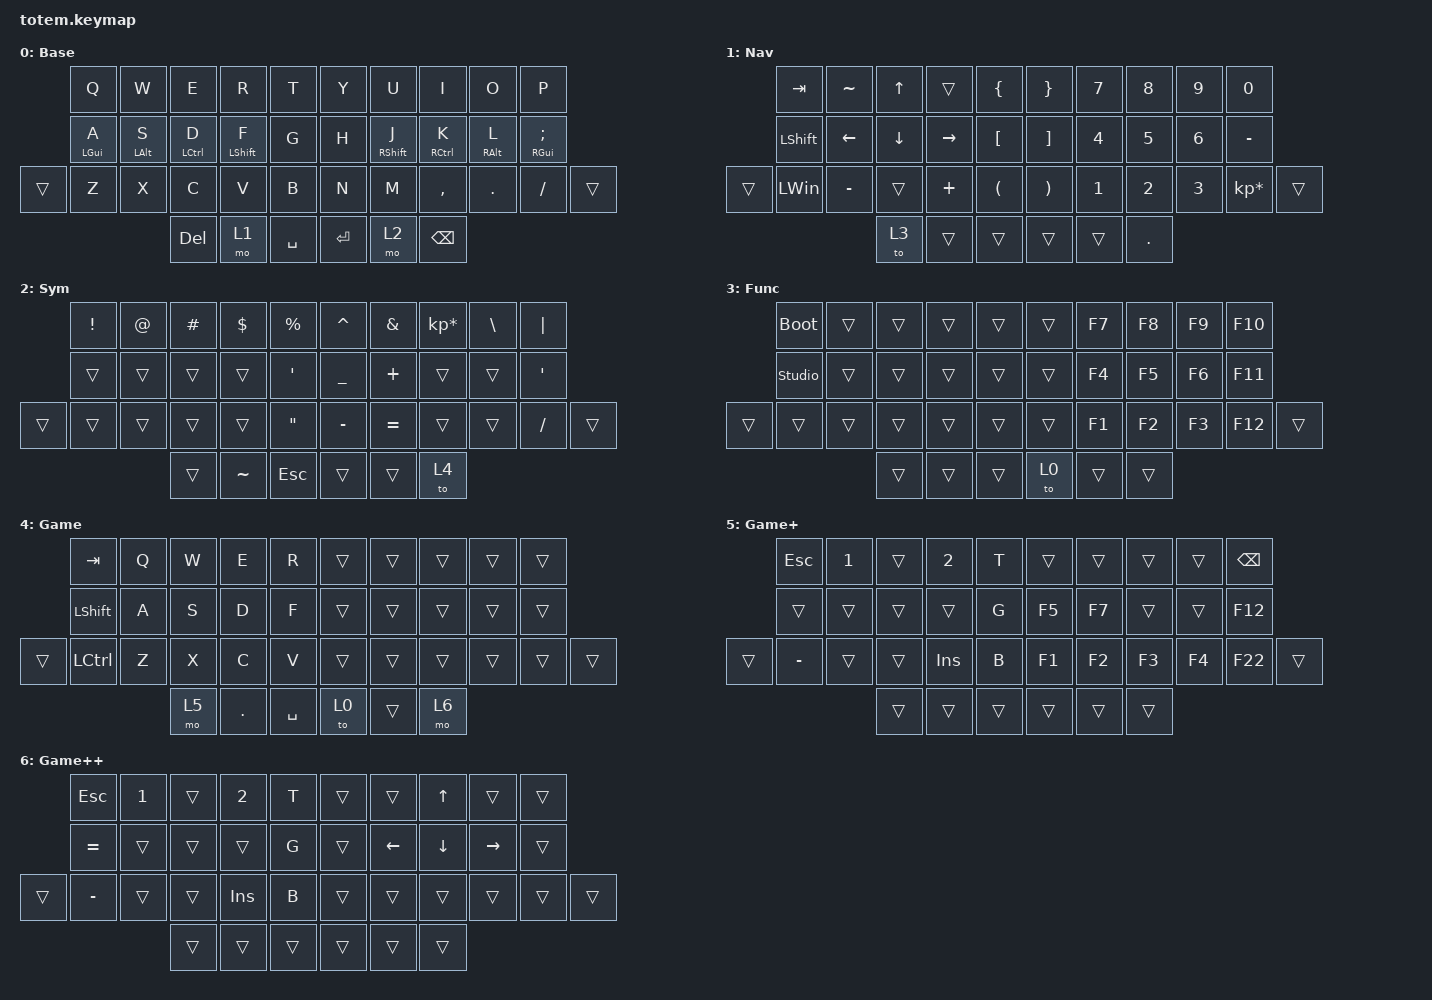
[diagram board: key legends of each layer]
//
//                                                        ▀▀▀▀▀     ▀▀▀▀▀          ▀▀█▀▀
//                                                        ▄▀▀▀▄  ▄  ▄▀▀▀▄  ▄  ▄▀▀▀▄  █  ▄▀▀▀▄
//                                                        █   █  █  █   █  █  █   █  █  █   █
//                                                         ▀▀▀   █   ▀▀▀   █   ▀▀▀   ▀   ▀▀▀
//                                                               █      ▄▄▄█▄▄▄    █   █  
//                                                               ▀      █  █  █     █▄█
//                                                             ▀▀▀▀▀    █  █  █      ▀
//                                                                      ▀  ▀  ▀
//
// ▄▄▄▄▄▄▄▄▄▄▄▄▄▄▄▄▄▄▄▄▄▄▄▄▄▄▄▄▄▄▄▄▄▄▄▄▄▄▄▄▄▄▄▄▄▄▄▄▄▄▄▄▄▄▄▄▄▄▄▄▄▄▄▄▄▄▄▄▄▄▄▄▄▄▄▄▄▄▄▄▄▄▄▄▄▄▄▄▄▄▄▄▄▄▄▄▄▄▄▄▄▄▄▄▄▄▄▄▄▄▄▄▄▄▄▄▄▄▄▄▄▄▄▄▄▄▄▄▄▄▄▄▄▄▄▄▄▄▄▄▄▄▄▄▄▄▄▄▄

#include <behaviors.dtsi>
#include <dt-bindings/zmk/keys.h>

#define Base            0
#define Nav             1
#define Sym             2
#define Fun             3
#define Game            4
#define Gameplus        5
#define Gameplusplus    6

&mt {
    quick-tap-ms = <100>;
    global-quick-tap;
    flavor = "tap-preferred";
    tapping-term-ms = <170>;
};

&lt {
    tapping-term-ms = <240>;
    flavor = "balanced";
    quick-tap-ms = <150>;
};

/ {
    behaviors {
        hm: homerow_mods {
            compatible = "zmk,behavior-hold-tap";
            label = "HOMEROW_MODS";
            #binding-cells = <2>;
            flavor = "tap-preferred";
            tapping-term-ms = <250>;
            quick-tap-ms = <125>;
            global-quick-tap;
            bindings = <&kp>, <&kp>;
        };
    };

    combos { compatible = "zmk,combos"; };

    keymap {
        compatible = "zmk,keymap";

        Base {
            display-name = "Base";
            bindings = <
              &kp Q       &kp W       &kp E          &kp R         &kp T        &kp Y    &kp U        &kp I        &kp O       &kp P
              &hm LGUI A  &hm LALT S  &hm LCTRL D    &hm LSHIFT F  &kp G        &kp H    &hm RSHFT J  &hm RCTRL K  &hm RALT L  &hm RGUI SEMICOLON
    &trans    &kp Z       &kp X       &kp C          &kp V         &kp B        &kp N    &kp M        &kp COMMA    &kp DOT     &kp SLASH           &trans
                                      &kp DEL        &mo 1         &kp SPACE    &kp RET  &mo 2        &kp BSPC
            >;
        };

        Nav {
            display-name = "Nav";
            bindings = <
              &kp TAB         &kp TILDE  &kp UP_ARROW  &trans     &kp LBRC    &kp RBRC  &kp NUMBER_7  &kp NUMBER_8  &kp NUMBER_9  &kp NUMBER_0
              &kp LEFT_SHIFT  &kp LEFT   &kp DOWN      &kp RIGHT  &kp LBKT    &kp RBKT  &kp NUMBER_4  &kp NUMBER_5  &kp NUMBER_6  &kp MINUS
    &trans    &kp LEFT_WIN    &kp MINUS  &trans        &kp PLUS   &kp LPAR    &kp RPAR  &kp NUMBER_1  &kp NUMBER_2  &kp NUMBER_3  &kp KP_MULTIPLY  &trans
                                         &to 3        &trans     &trans      &trans    &trans        &kp DOT
            >;
        };

        Sym {
            display-name = "Sym";
            bindings = <
                &kp EXCL  &kp AT  &kp HASH  &kp DOLLAR  &kp PERCENT    &kp CARET  &kp AMPERSAND  &kp KP_ASTERISK  &kp BACKSLASH  &kp PIPE
                &trans    &trans  &trans    &trans      &kp SQT        &kp UNDER  &kp PLUS       &trans           &trans         &kp APOSTROPHE
        &trans  &trans    &trans  &trans    &trans      &kp DQT        &kp MINUS  &kp EQUAL      &trans           &trans         &kp SLASH  &trans
                                  &trans    &kp TILDE   &kp ESCAPE     &trans     &trans         &to 4
            >;
        };

        Fun {
            display-name = "Func";
            bindings = <
        &bootloader    &trans  &trans  &trans  &trans    &trans  &kp F7  &kp F8  &kp F9  &kp F10
        &studio_unlock &trans  &trans  &trans  &trans    &trans  &kp F4  &kp F5  &kp F6   &kp F11
&trans  &trans         &trans  &trans  &trans  &trans    &trans  &kp F1  &kp F2  &kp F3   &kp F12  &trans
                               &trans  &trans  &trans    &to 0   &trans  &trans
            >;
        };

        Gaming {
            display-name = "Game";
            bindings = <
            &kp TAB         &kp Q  &kp W      &kp E         &kp R      &trans  &trans  &trans  &trans  &trans
            &kp LEFT_SHIFT  &kp A  &kp S      &kp D         &kp F      &trans  &trans  &trans  &trans  &trans
&trans      &kp LCTRL       &kp Z  &kp X      &kp C         &kp V      &trans  &trans  &trans  &trans  &trans  &trans
                                   &mo 5      &kp DOT       &kp SPACE  &to 0   &trans  &mo 6
            >;
        };

        Gaming+ {
            display-name = "Game+";
            bindings = <
        &kp ESCAPE  &kp NUMBER_1   &trans        &kp NUMBER_2  &kp T     &trans         &trans         &trans  &trans  &kp BSPC
        &trans      &trans         &trans        &trans        &kp G     &kp F5         &kp F7         &trans  &trans  &kp F12
&trans  &kp MINUS   &trans         &trans        &kp INSERT    &kp B     &kp F1         &kp F2         &kp F3  &kp F4  &kp F22  &trans
                                   &trans        &trans        &trans    &trans         &trans         &trans
            >;
        };

        Gaming++ {
            display-name = "Game++";
            bindings = <
        &kp ESCAPE  &kp NUMBER_1   &trans        &kp NUMBER_2  &kp T     &trans         &trans         &kp UP_ARROW  &trans     &trans
        &kp EQUAL   &trans         &trans        &trans        &kp G     &trans         &kp LEFT       &kp DOWN      &kp RIGHT  &trans
&trans  &kp MINUS   &trans         &trans        &kp INSERT    &kp B     &trans         &trans         &trans        &trans     &trans  &trans
                                   &trans        &trans        &trans    &trans         &trans         &trans
            >;
        };
    };
};
